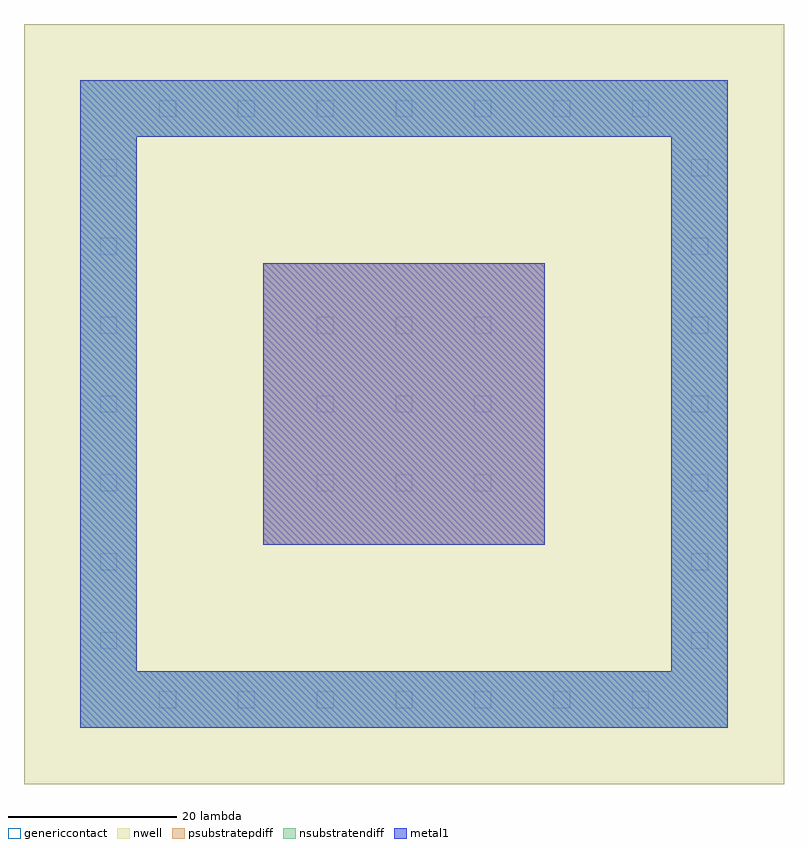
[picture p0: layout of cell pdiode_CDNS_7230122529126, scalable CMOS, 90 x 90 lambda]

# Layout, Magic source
magic
tech scmos
magscale 1 3
<< psubstratepdiff >>
rect 85 85 185 185
<< metal1 >>
rect 85 85 185 185
use ntap_ring_pdiode_CDNS_7230122529128  ntap_ring_pdiode_CDNS_7230122529128_0
transform 1 0 0 0 1 0
box 0 0 270 270
use ptap_CDNS_7230122529127  ptap_CDNS_7230122529127_0
transform 1 0 82 0 1 82
box 4 4 102 102
<< end >>

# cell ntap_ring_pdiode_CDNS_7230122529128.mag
magic
tech scmos
magscale 1 3
<< nwell >>
rect 0 0 270 270
<< nsubstratendiff >>
rect 20 230 250 250
rect 20 40 40 230
rect 230 40 250 230
rect 20 20 250 40
<< metal1 >>
rect 20 230 250 250
rect 20 40 40 230
rect 230 40 250 230
rect 20 20 250 40
use ntap_CDNS_723012252911  ntap_CDNS_723012252911_0
transform 1 0 226 0 1 36
box 4 4 24 194
use ntap_CDNS_723012252911  ntap_CDNS_723012252911_1
transform 1 0 16 0 1 36
box 4 4 24 194
use ntap_CDNS_7230122529129  ntap_CDNS_7230122529129_0
transform 1 0 36 0 1 226
box 4 4 194 24
use ntap_CDNS_7230122529129  ntap_CDNS_7230122529129_1
transform 1 0 36 0 1 16
box 4 4 194 24
<< end >>

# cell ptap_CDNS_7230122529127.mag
magic
tech scmos
magscale 1 3
<< genericcontact >>
rect 22 78 28 84
rect 50 78 56 84
rect 78 78 84 84
rect 22 50 28 56
rect 50 50 56 56
rect 78 50 84 56
rect 22 22 28 28
rect 50 22 56 28
rect 78 22 84 28
<< metal1 >>
rect 4 4 102 102
<< end >>

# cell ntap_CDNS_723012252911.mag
magic
tech scmos
magscale 1 3
<< genericcontact >>
rect 11 180 17 186
rect 11 152 17 158
rect 11 124 17 130
rect 11 96 17 102
rect 11 68 17 74
rect 11 40 17 46
rect 11 12 17 18
<< metal1 >>
rect 4 4 24 194
<< end >>

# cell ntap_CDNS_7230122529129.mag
magic
tech scmos
magscale 1 3
<< genericcontact >>
rect 12 11 18 17
rect 40 11 46 17
rect 68 11 74 17
rect 96 11 102 17
rect 124 11 130 17
rect 152 11 158 17
rect 180 11 186 17
<< metal1 >>
rect 4 4 194 24
<< end >>
